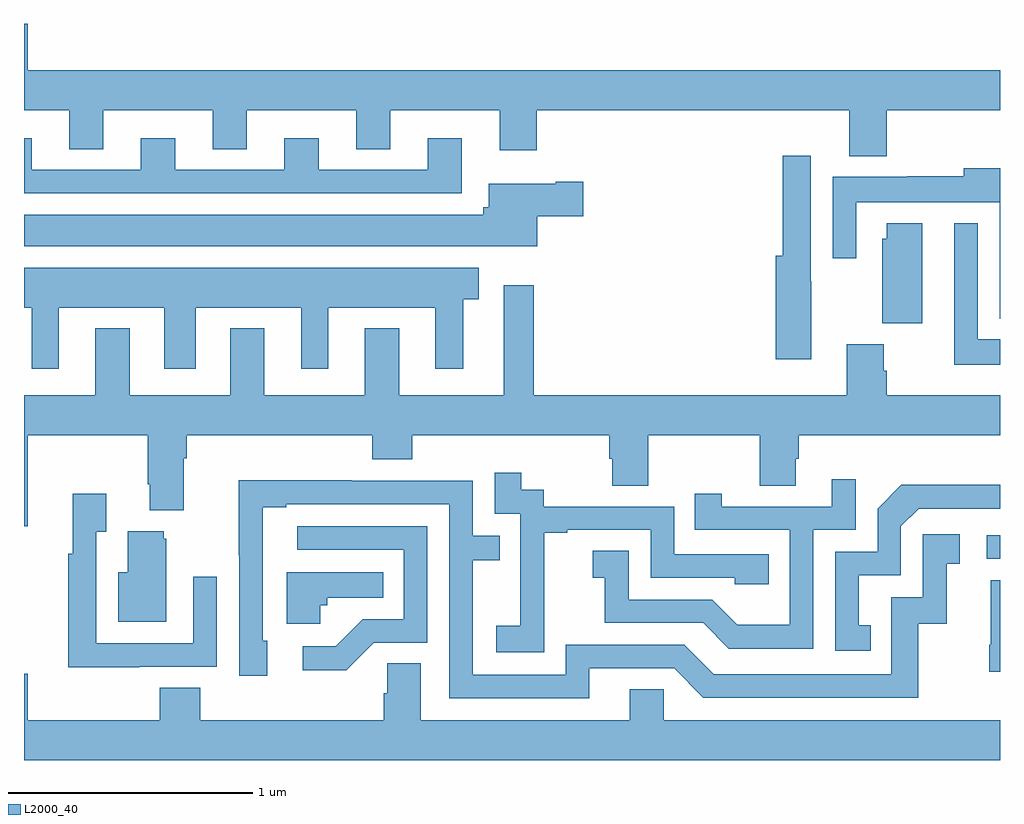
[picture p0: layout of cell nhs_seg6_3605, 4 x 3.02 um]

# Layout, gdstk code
import gdstk
lib = gdstk.Library(unit=1e-6, precision=1e-09)
def R(c, l, rs):  # rectangles x0, y0, x1, y1
    for r in rs: c.add(gdstk.rectangle(r[:2], r[2:], *l))
def P(c, l, *ps):  # polygons
    for p in ps: c.add(gdstk.Polygon(p, *l))
L2000_40 = (2000, 40)

nhs_seg6_3605 = lib.new_cell('nhs_seg6_3605')
R(nhs_seg6_3605, L2000_40, [(324.945,982.794,325,982.89)])
P(nhs_seg6_3605, L2000_40, [(324.536,984.632),(325,984.632),(325,984.796),(321.016,984.796),(321.016,984.985),(321,984.985),(321,984.632),(321.185,984.632),(321.185,984.472),(321.325,984.472),(321.325,984.632),(321.773,984.632),(321.773,984.472),(321.913,984.472),(321.913,984.632),(322.361,984.632),(322.361,984.472),(322.501,984.472),(322.501,984.632),(322.949,984.632),(322.949,984.468),(323.102,984.468),(323.102,984.632),(324.383,984.632),(324.383,984.443),(324.536,984.443)],
  [(322.795,984.517),(322.655,984.517),(322.655,984.387),(322.207,984.387),(322.207,984.517),(322.067,984.517),(322.067,984.387),(321.619,984.387),(321.619,984.517),(321.479,984.517),(321.479,984.387),(321.031,984.387),(321.031,984.517),(321,984.517),(321,984.291),(322.795,984.291)],
  [(324.226,983.93),(324.225,983.93),(324.225,984.445),(324.109,984.445),(324.109,984.034),(324.08,984.034),(324.08,983.61),(324.226,983.61)],
  [(325,984.394),(324.851,984.394),(324.851,984.361),(324.619,984.361),(324.619,984.358),(324.315,984.358),(324.315,984.024),(324.411,984.024),(324.411,984.254),(324.999,984.254),(324.999,983.777),(325,983.777)],
  [(323.104,984.197),(323.293,984.197),(323.293,984.339),(323.18,984.339),(323.18,984.331),(322.904,984.331),(322.904,984.234),(322.883,984.234),(322.883,984.202),(321,984.202),(321,984.074),(323.104,984.074)],
  [(324.682,984.169),(324.536,984.169),(324.536,984.105),(324.518,984.105),(324.518,983.758),(324.682,983.758)],
  [(325,983.692),(324.909,983.692),(324.909,984.169),(324.812,984.169),(324.812,983.588),(325,983.588)],
  [(321.142,983.822),(321.575,983.822),(321.575,983.571),(321.703,983.571),(321.703,983.822),(322.136,983.822),(322.136,983.571),(322.246,983.571),(322.246,983.822),(322.685,983.822),(322.685,983.571),(322.801,983.571),(322.801,983.857),(322.864,983.857),(322.864,983.986),(321,983.986),(321,983.822),(321.032,983.822),(321.032,983.571),(321.142,983.571)],
  [(321.016,983.3),(321.508,983.3),(321.508,983.098),(321.515,983.098),(321.515,982.991),(321.655,982.991),(321.655,983.204),(321.668,983.204),(321.668,983.3),(322.427,983.3),(322.427,983.201),(322.592,983.201),(322.592,983.3),(323.399,983.3),(323.399,983.202),(323.411,983.202),(323.411,983.092),(323.559,983.092),(323.559,983.3),(324.016,983.3),(324.016,983.092),(324.163,983.092),(324.163,983.202),(324.176,983.202),(324.176,983.3),(325,983.3),(325,983.464),(324.536,983.464),(324.536,983.564),(324.523,983.564),(324.523,983.673),(324.371,983.673),(324.371,983.464),(323.089,983.464),(323.089,983.914),(322.967,983.914),(322.967,983.464),(322.537,983.464),(322.537,983.737),(322.397,983.737),(322.397,983.464),(321.985,983.464),(321.985,983.737),(321.845,983.737),(321.845,983.464),(321.433,983.464),(321.433,983.737),(321.293,983.737),(321.293,983.464),(321,983.464),(321,982.926),(321.016,982.926)],
  [(323.133,982.615),(323.132,982.615),(323.132,982.899),(323.227,982.899),(323.227,982.911),(323.568,982.911),(323.568,982.716),(323.913,982.716),(323.913,982.689),(324.053,982.689),(324.053,982.812),(323.664,982.812),(323.664,983.007),(323.13,983.007),(323.13,983.076),(323.038,983.076),(323.038,983.146),(322.929,983.146),(322.929,982.977),(323.034,982.977),(323.034,982.748),(323.033,982.748),(323.033,982.519),(322.935,982.519),(322.935,982.409),(323.133,982.409)],
  [(324.234,982.911),(324.408,982.911),(324.408,983.119),(324.311,983.119),(324.311,983.007),(323.86,983.007),(323.86,983.059),(323.749,983.059),(323.749,982.911),(324.138,982.911),(324.138,982.522),(323.924,982.522),(323.82,982.626),(323.478,982.626),(323.478,982.825),(323.331,982.825),(323.331,982.715),(323.38,982.715),(323.38,982.53),(323.783,982.53),(323.888,982.425),(324.234,982.425)],
  [(323.317,982.344),(323.664,982.344),(323.784,982.224),(324.664,982.224),(324.664,982.527),(324.782,982.527),(324.782,982.773),(324.835,982.773),(324.835,982.894),(324.684,982.894),(324.684,982.635),(324.555,982.635),(324.555,982.32),(323.826,982.32),(323.706,982.44),(323.22,982.44),(323.22,982.317),(322.839,982.317),(322.839,982.786),(322.949,982.786),(322.949,982.887),(322.839,982.887),(322.839,983.112),(322.343,983.112),(322.343,983.114),(321.88,983.114),(321.88,982.807),(321.882,982.807),(321.882,982.314),(321.997,982.314),(321.997,982.458),(321.978,982.458),(321.978,983.004),(322.075,983.004),(322.075,983.016),(322.743,983.016),(322.743,982.221),(323.317,982.221)],
  [(324.47,982.521),(324.421,982.521),(324.421,982.725),(324.594,982.725),(324.594,982.926),(324.666,982.998),(325,982.998),(325,983.096),(324.596,983.096),(324.498,982.998),(324.498,982.821),(324.324,982.821),(324.324,982.416),(324.47,982.416)],
  [(321.473,982.35),(321.789,982.35),(321.789,982.72),(321.693,982.72),(321.693,982.446),(321.297,982.446),(321.297,982.903),(321.337,982.903),(321.337,983.059),(321.2,983.059),(321.2,982.814),(321.181,982.814),(321.181,982.349),(321.473,982.349)],
  [(322.434,982.449),(322.653,982.449),(322.653,982.926),(322.119,982.926),(322.119,982.83),(322.557,982.83),(322.557,982.545),(322.388,982.545),(322.277,982.434),(322.143,982.434),(322.143,982.337),(322.321,982.337)],
  [(321.583,982.875),(321.572,982.875),(321.572,982.906),(321.425,982.906),(321.425,982.738),(321.386,982.738),(321.386,982.535),(321.583,982.535)],
  [(322.215,982.602),(322.242,982.602),(322.242,982.634),(322.472,982.634),(322.472,982.738),(322.076,982.738),(322.076,982.526),(322.215,982.526)],
  [(325,982.705),(324.962,982.705),(324.962,982.441),(324.955,982.441),(324.955,982.329),(325,982.329)],
  [(325,982.132),(323.622,982.132),(323.622,982.259),(323.483,982.259),(323.483,982.132),(322.627,982.132),(322.627,982.364),(322.488,982.364),(322.488,982.241),(322.475,982.241),(322.475,982.132),(321.722,982.132),(321.722,982.265),(321.557,982.265),(321.557,982.132),(321.016,982.132),(321.016,982.321),(321,982.321),(321,981.968),(325,981.968)])

lib.write_gds('nhs_seg6_3605.gds')
